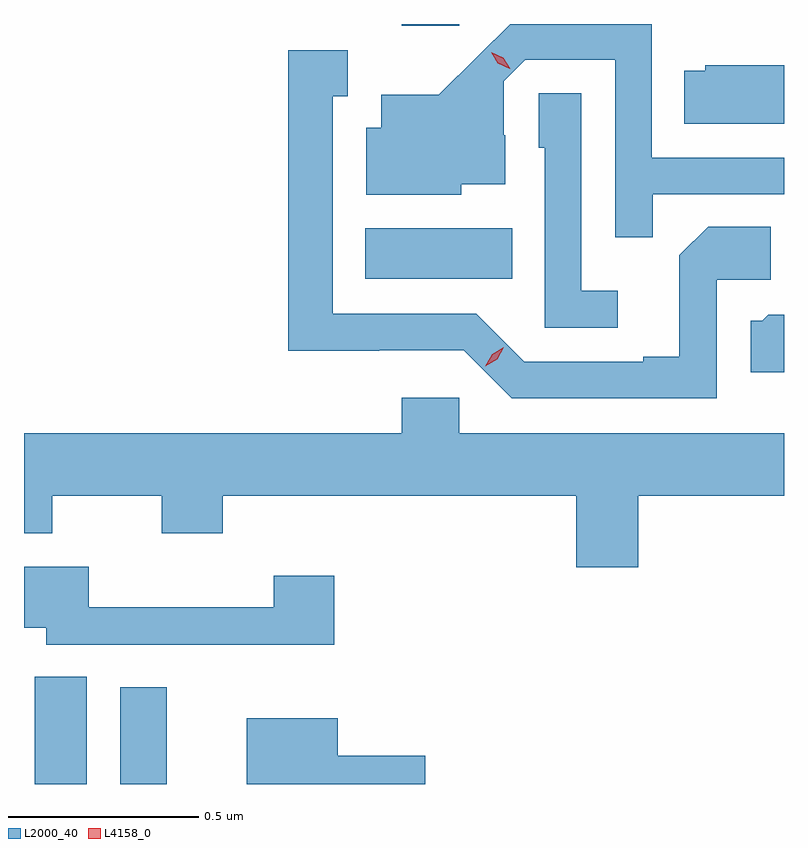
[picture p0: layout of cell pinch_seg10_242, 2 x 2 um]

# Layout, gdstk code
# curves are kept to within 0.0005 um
import gdstk
lib = gdstk.Library(unit=1e-6, precision=1e-09)
def R(c, l, rs):  # rectangles x0, y0, x1, y1
    for r in rs: c.add(gdstk.rectangle(r[:2], r[2:], *l))
def P(c, l, *ps):  # polygons
    for p in ps: c.add(gdstk.Polygon(p, *l))
L2000_40 = (2000, 40)
L4158_0 = (4158, 0)

pinch_seg10_242 = lib.new_cell('pinch_seg10_242')
R(pinch_seg10_242, L2000_40, [(619.127,1308.881,619.264,1309.163), (619.352,1308.881,619.474,1309.135), (619.997,1310.21,620.384,1310.344), (620.093,1310.877,620.244,1310.881)])
P(pinch_seg10_242, L2000_40, [(620.753,1310.433),(621.099,1310.433),(621.099,1310.529),(620.751,1310.529),(620.751,1310.88),(620.378,1310.88),(620.191,1310.695),(620.039,1310.695),(620.039,1310.608),(620,1310.608),(620,1310.432),(620.25,1310.432),(620.25,1310.459),(620.365,1310.459),(620.365,1310.588),(620.361,1310.588),(620.361,1310.73),(620.418,1310.787),(620.655,1310.787),(620.655,1310.32),(620.753,1310.32)],
  [(620.922,1310.208),(621.064,1310.208),(621.064,1310.348),(620.899,1310.348),(620.823,1310.272),(620.823,1310.005),(620.729,1310.005),(620.729,1309.992),(620.415,1309.992),(620.289,1310.118),(619.912,1310.118),(619.912,1310.691),(619.951,1310.691),(619.951,1310.812),(619.794,1310.812),(619.794,1310.021),(620.034,1310.021),(620.034,1310.022),(620.256,1310.022),(620.382,1309.896),(620.922,1309.896)],
  [(621.099,1310.773),(620.892,1310.773),(620.892,1310.758),(620.836,1310.758),(620.836,1310.618),(621.099,1310.618)],
  [(620.662,1310.179),(620.565,1310.179),(620.565,1310.699),(620.454,1310.699),(620.454,1310.556),(620.469,1310.556),(620.469,1310.082),(620.662,1310.082)],
  [(621.099,1310.116),(621.058,1310.116),(621.042,1310.1),(621.011,1310.1),(621.011,1309.964),(621.099,1309.964)],
  [(620.716,1309.64),(621.099,1309.64),(621.099,1309.804),(620.244,1309.804),(620.244,1309.897),(620.093,1309.897),(620.093,1309.804),(619.099,1309.804),(619.099,1309.541),(619.173,1309.541),(619.173,1309.64),(619.462,1309.64),(619.462,1309.541),(619.622,1309.541),(619.622,1309.64),(620.552,1309.64),(620.552,1309.452),(620.716,1309.452)],
  [(619.916,1309.429),(619.756,1309.429),(619.756,1309.346),(619.27,1309.346),(619.27,1309.453),(619.099,1309.453),(619.099,1309.292),(619.157,1309.292),(619.157,1309.248),(619.667,1309.248),(619.667,1309.247),(619.916,1309.247)],
  [(620.155,1308.956),(619.924,1308.956),(619.924,1309.054),(619.685,1309.054),(619.685,1308.881),(620.155,1308.881)])
P(pinch_seg10_242, L4158_0, [(620.377,1310.763),(620.346,1310.778),(620.328,1310.807),(620.328,1310.807),(620.329,1310.807),(620.36,1310.792),(620.378,1310.763),(620.378,1310.763)],
  [(620.313,1309.98),(620.313,1309.98),(620.331,1310.012),(620.362,1310.031),(620.362,1310.031),(620.362,1310.031),(620.345,1309.999),(620.313,1309.98)])

lib.write_gds('pinch_seg10_242.gds')
